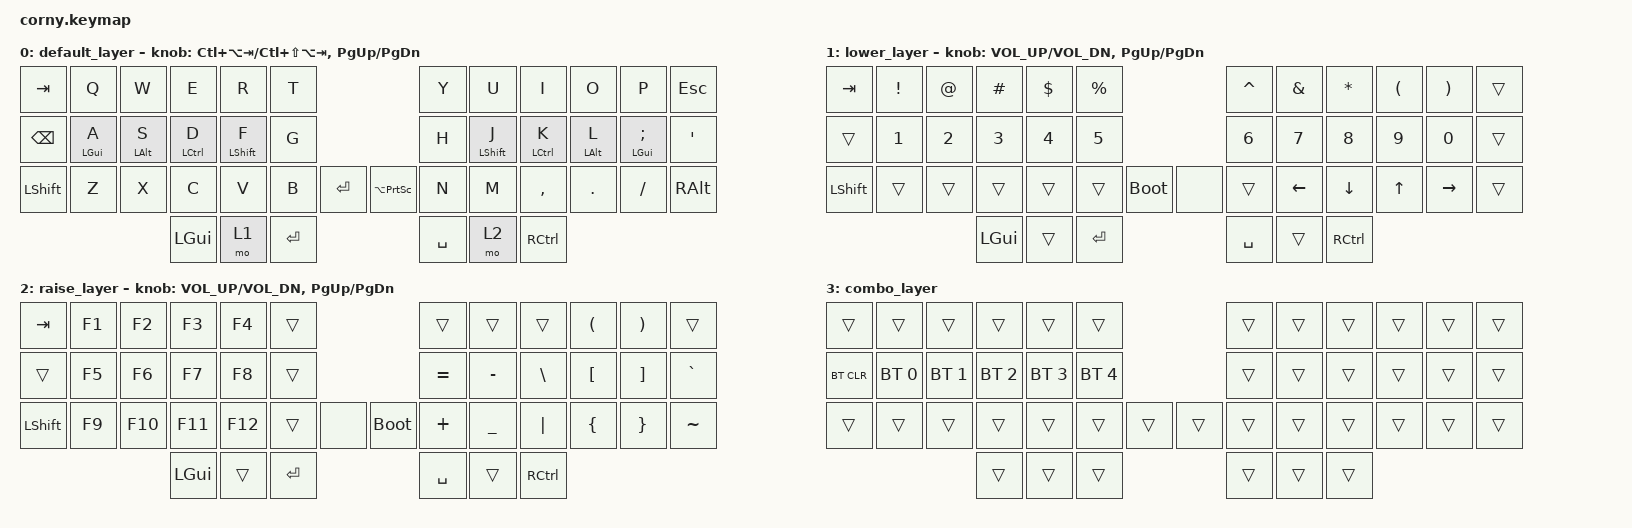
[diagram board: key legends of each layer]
#include <behaviors.dtsi>
#include <dt-bindings/zmk/bt.h>
#include <dt-bindings/zmk/keys.h>

/ {
    behaviors {
        Left_Pos_Hold_Tap: Left_Pos_Hold_Tap {
            compatible = "zmk,behavior-hold-tap";
            label = "LEFT_POS_HOLD_TAP";
            bindings = <&kp>, <&kp>;

            #binding-cells = <2>;
            flavor = "balanced";
            tapping-term-ms = <250>;
            hold-trigger-key-positions = <6 7 8 9 10 11 18 19 20 21 22 23 31 32 33 34 35 36 37 41 42 43>;
            hold-trigger-on-release;
            require-prior-idle-ms = <125>;
        };

        Right_Pos_Hold_Tap: Right_Pos_Hold_Tap {
            compatible = "zmk,behavior-hold-tap";
            label = "RIGHT_POS_HOLD_TAP";
            bindings = <&kp>, <&kp>;

            #binding-cells = <2>;
            tapping-term-ms = <250>;
            flavor = "balanced";
            hold-trigger-key-positions = <5 17 40 29 39 38 0 1 2 3 4 12 13 14 15 16 24 25 26 27 28 30>;
            hold-trigger-on-release;
            require-prior-idle-ms = <125>;
        };
    };

    keymap {
        compatible = "zmk,keymap";

        default_layer {
            // -------------------------------------------------------------------------------------------------
            // |  TAB |  Q  |  W  |  E  |  R  |  T  |                    |  Y  |  U   |  I  |  O  |  P  | BKSP |
            // | CTRL |  A  |  S  |  D  |  F  |  G  |                    |  H  |  J   |  K  |  L  |  ;  |  '   |
            // | SHFT |  Z  |  X  |  C  |  V  |  B  |  MUTE  |  |        |  N  |  M   |  ,  |  .  |  /  | ESC  |
            //                    | GUI | LWR | SPC |                    | ENT | RSE  | ALT |

            bindings = <
&kp TAB    &kp Q                          &kp W                          &kp E                              &kp R                            &kp T                                    &kp Y      &kp U                             &kp I                               &kp O                           &kp P                                   &kp ESC
&kp BSPC   &Left_Pos_Hold_Tap LEFT_GUI A  &Left_Pos_Hold_Tap LEFT_ALT S  &Left_Pos_Hold_Tap LEFT_CONTROL D  &Left_Pos_Hold_Tap LEFT_SHIFT F  &kp G                                    &kp H      &Right_Pos_Hold_Tap LEFT_SHIFT J  &Right_Pos_Hold_Tap LEFT_CONTROL K  &Right_Pos_Hold_Tap LEFT_ALT L  &Right_Pos_Hold_Tap LEFT_GUI SEMICOLON  &kp SQT
&kp LSHFT  &kp Z                          &kp X                          &kp C                              &kp V                            &kp B    &kp ENTER  &kp LA(PRINTSCREEN)  &kp N      &kp M                             &kp COMMA                           &kp DOT                         &kp FSLH                                &kp RIGHT_ALT
                                                                         &kp LGUI                           &mo 1                            &kp RET                                  &kp SPACE  &mo 2                             &kp RIGHT_CONTROL
            >;

            sensor-bindings =
                <&inc_dec_kp LC(LA(TAB)) LC(LS(LA(TAB)))>,
                <&inc_dec_kp PG_UP PG_DN>;
        };

        lower_layer {
            // ------------------------------------------------------------------------------------------------
            // |  TAB |  1  |  2  |  3  |  4  |  5  |                    |  6  |  7  |  8  |  9  |  0  | BKSP |
            // | BTCLR| BT1 | BT2 | BT3 | BT4 | BT5 |                    | LFT | DWN |  UP | RGT |     |  F12 |
            // | SHFT | F1  | F2  | F3  | F4  | F5  |  boot  |  |        |  F6 | F7  | F8  | F9  | F10 |  F11 |
            //                    | GUI |     | SPC |                    | ENT |     | ALT |

            bindings = <
&kp TAB    &kp EXCLAMATION  &kp AT_SIGN  &kp POUND  &kp DOLLAR  &kp PERCENT                      &kp CARET  &kp AMPERSAND  &kp ASTERISK       &kp LEFT_PARENTHESIS  &kp RIGHT_PARENTHESIS  &trans
&trans     &kp N1           &kp N2       &kp N3     &kp N4      &kp N5                           &kp N6     &kp N7         &kp N8             &kp N9                &kp N0                 &trans
&kp LSHFT  &trans           &trans       &trans     &trans      &trans       &bootloader  &none  &trans     &kp LEFT       &kp DOWN           &kp UP                &kp RIGHT              &trans
                                         &kp LGUI   &trans      &kp RET                          &kp SPACE  &trans         &kp RIGHT_CONTROL
            >;

            sensor-bindings = <&inc_dec_kp C_VOL_UP C_VOL_DN &inc_dec_kp PG_UP PG_DN>;
        };

        raise_layer {
            // ------------------------------------------------------------------------------------------------
            // |  TAB |  !  |  @  |  #  |  $  |  %  |                    |  ^  |  &  |  *  |  (  |  )  | BKSP |
            // | CTRL |     |     |     |     |     |                    |  -  |  =  |  [  |  ]  |  \  |  `   |
            // | SHFT |     |     |     |     |     |        |  |  boot  |  _  |  +  |  {  |  }  | "|" |  ~   |
            //                    | GUI |     | SPC |                    | ENT |     | ALT |

            bindings = <
&kp TAB    &kp F1  &kp F2   &kp F3    &kp F4   &trans                       &trans     &trans          &trans             &kp LPAR        &kp RPAR         &trans
&trans     &kp F5  &kp F6   &kp F7    &kp F8   &trans                       &kp EQUAL  &kp MINUS       &kp BACKSLASH      &kp LBKT        &kp RBKT         &kp GRAVE
&kp LSHFT  &kp F9  &kp F10  &kp F11   &kp F12  &trans   &none  &bootloader  &kp PLUS   &kp UNDERSCORE  &kp PIPE           &kp LEFT_BRACE  &kp RIGHT_BRACE  &kp TILDE
                            &kp LGUI  &trans   &kp RET                      &kp SPACE  &trans          &kp RIGHT_CONTROL
            >;

            sensor-bindings = <&inc_dec_kp C_VOL_UP C_VOL_DN &inc_dec_kp PG_UP PG_DN>;
        };

        combo_layer {
            bindings = <
&trans      &trans        &trans        &trans        &trans        &trans                        &trans  &trans  &trans  &trans  &trans  &trans
&bt BT_CLR  &bt BT_SEL 0  &bt BT_SEL 1  &bt BT_SEL 2  &bt BT_SEL 3  &bt BT_SEL 4                  &trans  &trans  &trans  &trans  &trans  &trans
&trans      &trans        &trans        &trans        &trans        &trans        &trans  &trans  &trans  &trans  &trans  &trans  &trans  &trans
                                        &trans        &trans        &trans                        &trans  &trans  &trans
            >;
        };
    };

    conditional_layers {
        compatible = "zmk,conditional-layers";

        combo_layer {
            if-layers = <1 2>;
            then-layer = <3>;
        };
    };
};
